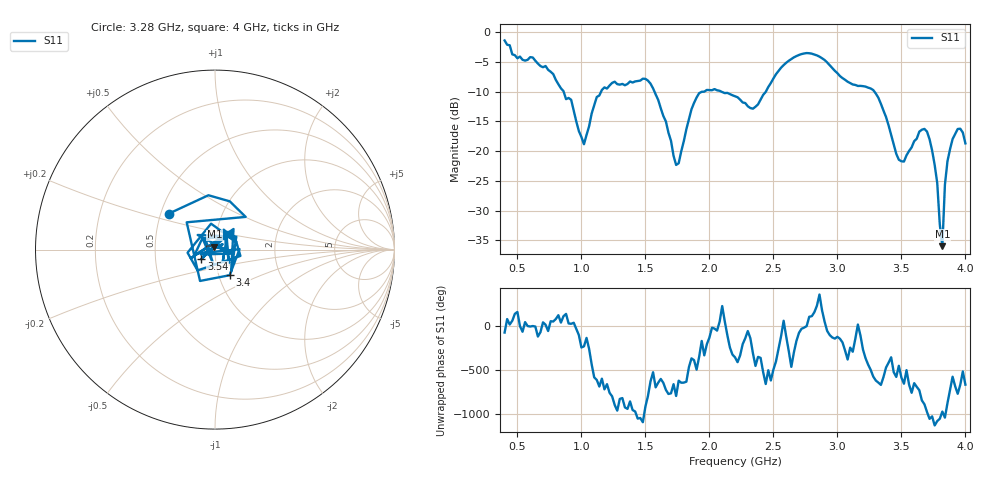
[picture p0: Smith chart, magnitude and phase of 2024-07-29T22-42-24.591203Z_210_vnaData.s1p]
!Created with skrf (http://scikit-rf.org).
# Hz S RI R 50.0
!freq ReS11 ImS11
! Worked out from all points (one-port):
!   181 points, 400 MHz to 4 GHz, reference 50 ohm
!   lowest |S11| = -36.0 dB at 3.82 GHz (marker M1), VSWR 1.03, Z = 49.6 + j1.54 ohm
!   |S11| at or under -10 dB: 1.571 GHz to 1.96 GHz (389.4 MHz wide, 22.1 % of centre); 2.094 GHz to 2.441 GHz (347.1 MHz wide, 15.3 % of centre); 3.289 GHz to end of sweep (the widest 3 of 4)
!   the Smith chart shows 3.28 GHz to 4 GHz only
!   S11 on the Smith chart (normalised r, x): 3.28 GHz: 0.55, +0.25; 3.4 GHz: 1.13, -0.33; 3.54 GHz: 0.85, -0.09; 4 GHz: 1.14, +0.21
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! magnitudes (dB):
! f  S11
! 400 MHz  -1.4
! 860 MHz  -9.9
! 920 MHz  -11.4
! 1.02 GHz  -18.8
! 1.12 GHz  -10.9
! 1.3 GHz  -8.8
! 1.54 GHz  -8.7
! 1.76 GHz  -22.0
! 1.86 GHz  -13.0
! 1.92 GHz  -10.3
! 2.2 GHz  -10.8
! 2.34 GHz  -12.9
! 2.66 GHz  -4.2
! 2.84 GHz  -3.9
! 3.1 GHz  -8.6
! 3.28 GHz  -9.7
! 3.4 GHz  -15.7
! 3.48 GHz  -21.4
! 3.54 GHz  -20.7
! 3.56 GHz  -20.0
! 3.7 GHz  -16.7
! 3.78 GHz  -25.4
! 3.8 GHz  -32.3
! 3.82 GHz  -36.0
! 3.84 GHz  -25.7
! 3.88 GHz  -19.7
! 3.94 GHz  -16.3
! 4 GHz  -18.7
